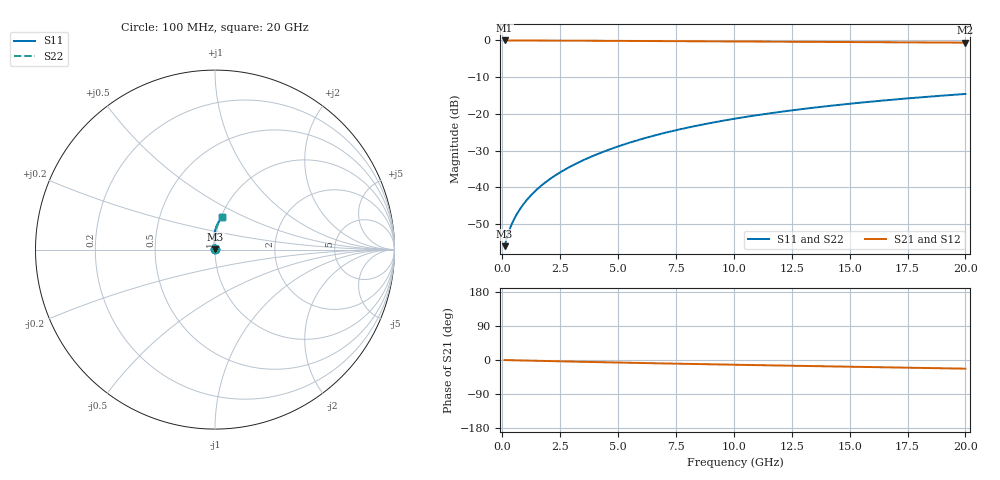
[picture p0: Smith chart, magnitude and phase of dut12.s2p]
! Touchstone file exported from HFSS 2024.1.0
!  File:  C:/UserFiles/LocalFiles/RDL_TSV_Batchsim/temp_RDL_top_12_1778679922.aedt
!  Generated:  09:47:12 PM May 13, 2026
!  Design:  RDL_top
!  Project:  temp_RDL_top_12_1778679922
!  Setup:  Setup1
!  Solution:  Sweep
! Variables:
!  dtsv = 10.80580581um
!  hbump = 3um
!  htsv = 58.84um
!  ldown = 100um
!  lrdl = 339.84um
!  p = 40
!  p1 = 48.35um
!  rhole = 1um
!  t = 450um
!  tdown = 3.915915916um
!  trdl = 3.62um
!  wdown = 15.38538539um
!  wrdl = 29.43um
# GHz S MA R 50.000000
! Terminal data exported
! Port[1] = Box2_T1
! Port[2] = Box2_T2
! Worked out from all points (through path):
!   200 points, 100 MHz to 20 GHz, reference 50 ohm
!   highest |S21| = -0.01 dB at 100 MHz (marker M1); lowest = -0.6 dB at 20 GHz (marker M2)
!   group delay of S21, straight-line fit = 3.11 ps
!   lowest |S11| = -56.0 dB at 100 MHz (marker M3), VSWR 1.00, Z = 50.1 + j0.0771 ohm
!   |S11| at or under -10 dB: start of sweep to end of sweep
!   |S22| runs from -56.0 to -14.6 dB; largest |S21 - S12| = 4.2e-15
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0.1  0.001589 29.0  0.9986 -0.2  0.9986 -0.2  0.001589 29.0
! Gamma 0 0 0 0
! Port Impedance 50 0 50 0
0.2  0.002088 44.3  0.9985 -0.3  0.9985 -0.3  0.002088 44.3
0.3  0.002612 52.8  0.9983 -0.4  0.9983 -0.4  0.002612 52.8
0.4  0.00313 58.6  0.9982 -0.6  0.9982 -0.6  0.00313 58.6
0.5  0.00365 63.2  0.9981 -0.7  0.9981 -0.7  0.00365 63.2
0.8  0.005275 72.6  0.9977 -1.1  0.9977 -1.1  0.005275 72.6
1  0.006414 76.8  0.9975 -1.4  0.9975 -1.4  0.006414 76.8
1.2  0.007591 79.9  0.9972 -1.7  0.9972 -1.7  0.007591 79.9
1.7  0.01068 85.4  0.9962 -2.4  0.9962 -2.4  0.01068 85.4
2.2  0.01397 89.0  0.9951 -3.1  0.9951 -3.1  0.01397 89.0
2.8  0.01819 91.9  0.9933 -3.9  0.9933 -3.9  0.01819 91.9
3.5  0.02349 94.1  0.991 -4.8  0.991 -4.8  0.02348 94.1
4.2  0.02918 95.5  0.9884 -5.7  0.9884 -5.7  0.02917 95.4
5  0.03613 96.2  0.9852 -6.7  0.9852 -6.7  0.03612 96.2
5.9  0.04441 96.3  0.9814 -7.8  0.9814 -7.8  0.0444 96.3
6.8  0.0531 95.9  0.9776 -8.9  0.9776 -8.9  0.05308 95.9
8.4  0.06919 94.4  0.9711 -10.7  0.9711 -10.7  0.06916 94.4
10.1  0.08677 92.2  0.9646 -12.6  0.9646 -12.6  0.08673 92.2
11.7  0.1035 89.9  0.9589 -14.3  0.9589 -14.3  0.1034 89.9
13.4  0.1211 87.4  0.9532 -16.1  0.9532 -16.1  0.121 87.4
16.7  0.1547 82.6  0.9427 -19.5  0.9427 -19.5  0.1546 82.5
20  0.187 78.0  0.9326 -22.9  0.9326 -22.9  0.1869 78.0
